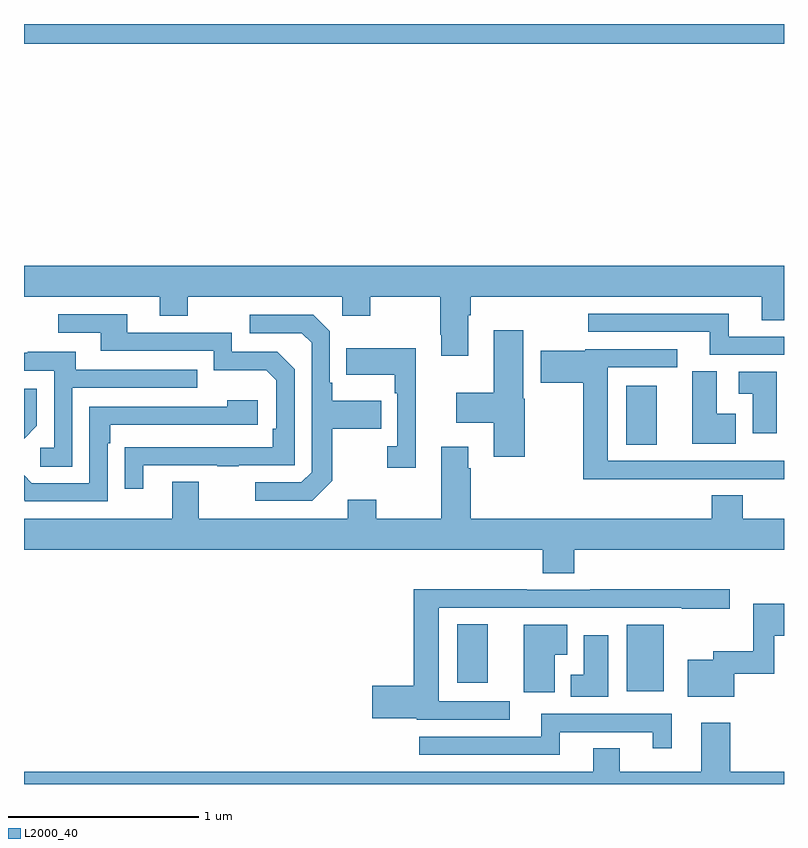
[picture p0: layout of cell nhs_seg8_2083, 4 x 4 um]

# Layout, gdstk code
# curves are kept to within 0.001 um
import gdstk
lib = gdstk.Library(unit=1e-6, precision=1e-09)
def R(c, l, rs):  # rectangles x0, y0, x1, y1
    for r in rs: c.add(gdstk.rectangle(r[:2], r[2:], *l))
def P(c, l, *ps):  # polygons
    for p in ps: c.add(gdstk.Polygon(p, *l))
L2000_40 = (2000, 40)

nhs_seg8_2083 = lib.new_cell('nhs_seg8_2083')
R(nhs_seg8_2083, L2000_40, [(244.172,1150.388,244.366,1150.738), (243.281,1150.434,243.442,1150.742), (244.169,1151.686,244.33,1151.995), (241,1153.796,245,1153.9)])
P(nhs_seg8_2083, L2000_40, [(241,1152.464),(241.715,1152.464),(241.715,1152.365),(241.863,1152.365),(241.863,1152.464),(242.676,1152.464),(242.676,1152.365),(242.823,1152.365),(242.823,1152.464),(243.19,1152.464),(243.19,1152.265),(243.197,1152.265),(243.197,1152.153),(243.337,1152.153),(243.337,1152.368),(243.35,1152.368),(243.35,1152.464),(244.883,1152.464),(244.883,1152.34),(245,1152.34),(245,1152.628),(241,1152.628)],
  [(245,1152.255),(244.708,1152.255),(244.708,1152.375),(243.969,1152.375),(243.969,1152.279),(244.61,1152.279),(244.61,1152.159),(245,1152.159)],
  [(241.627,1151.577),(242.017,1151.577),(242.017,1151.572),(242.129,1151.572),(242.129,1151.577),(242.424,1151.577),(242.424,1152.084),(242.334,1152.174),(242.094,1152.174),(242.094,1152.276),(241.543,1152.276),(241.543,1152.372),(241.179,1152.372),(241.179,1152.276),(241.403,1152.276),(241.403,1152.18),(241.998,1152.18),(241.998,1152.077),(242.275,1152.077),(242.328,1152.024),(242.328,1151.77),(242.308,1151.77),(242.308,1151.673),(241.531,1151.672),(241.531,1151.454),(241.627,1151.454)],
  [(242.623,1151.497),(242.623,1151.77),(242.879,1151.77),(242.879,1151.917),(242.623,1151.917),(242.623,1152.013),(242.61,1152.013),(242.61,1152.282),(242.523,1152.369),(242.187,1152.369),(242.187,1152.273),(242.463,1152.273),(242.514,1152.222),(242.514,1151.541),(242.46,1151.487),(242.217,1151.487),(242.217,1151.391),(242.517,1151.391)],
  [(243.636,1151.927),(243.628,1151.927),(243.628,1152.289),(243.473,1152.289),(243.473,1151.959),(243.276,1151.959),(243.276,1151.801),(243.473,1151.801),(243.473,1151.622),(243.636,1151.622)],
  [(243.062,1152.193),(242.695,1152.193),(242.695,1152.053),(242.952,1152.053),(242.952,1151.957),(242.964,1151.957),(242.964,1151.678),(242.913,1151.678),(242.913,1151.565),(243.062,1151.565)],
  [(244.535,1151.505),(244.867,1151.505),(244.867,1151.504),(245,1151.504),(245,1151.601),(244.072,1151.601),(244.072,1152.093),(244.438,1152.093),(244.438,1152.189),(243.954,1152.189),(243.954,1152.181),(243.72,1152.181),(243.72,1152.011),(243.943,1152.011),(243.943,1151.504),(244.535,1151.504)],
  [(241.254,1151.985),(241.913,1151.985),(241.913,1152.081),(241.273,1152.081),(241.273,1152.175),(241.019,1152.175),(241.019,1152.171),(241,1152.171),(241,1152.075),(241.158,1152.075),(241.158,1151.67),(241.086,1151.67),(241.086,1151.569),(241.254,1151.569)],
  [(244.747,1151.848),(244.645,1151.848),(244.645,1152.073),(244.517,1152.073),(244.517,1151.69),(244.747,1151.69)],
  [(244.963,1152.07),(244.761,1152.07),(244.761,1151.954),(244.835,1151.954),(244.835,1151.745),(244.963,1151.745)],
  [(241.068,1151.786),(241.068,1151.98),(241,1151.98),(241,1151.718)],
  [(241.44,1151.693),(241.453,1151.693),(241.453,1151.79),(242.23,1151.79),(242.23,1151.92),(242.069,1151.92),(242.069,1151.886),(241.344,1151.886),(241.344,1151.484),(241.041,1151.484),(241,1151.525),(241,1151.393),(241.005,1151.388),(241.44,1151.388)],
  [(243.35,1151.561),(243.337,1151.561),(243.337,1151.674),(243.197,1151.674),(243.197,1151.296),(242.853,1151.296),(242.853,1151.395),(242.705,1151.395),(242.705,1151.296),(241.921,1151.296),(241.921,1151.491),(241.781,1151.491),(241.781,1151.296),(241,1151.296),(241,1151.132),(243.731,1151.132),(243.731,1151.008),(243.896,1151.008),(243.896,1151.132),(245,1151.132),(245,1151.296),(244.784,1151.296),(244.784,1151.42),(244.619,1151.42),(244.619,1151.296),(243.35,1151.296)],
  [(243.556,1150.335),(243.184,1150.335),(243.184,1150.827),(244.462,1150.827),(244.462,1150.822),(244.714,1150.822),(244.714,1150.925),(243.979,1150.925),(243.979,1150.923),(243.647,1150.923),(243.647,1150.925),(243.05,1150.925),(243.05,1150.418),(242.832,1150.418),(242.832,1150.247),(243.066,1150.247),(243.066,1150.239),(243.556,1150.239)],
  [(244.738,1150.48),(244.948,1150.48),(244.948,1150.679),(245,1150.679),(245,1150.849),(244.838,1150.849),(244.838,1150.599),(244.628,1150.599),(244.628,1150.555),(244.493,1150.555),(244.493,1150.358),(244.738,1150.358)],
  [(243.793,1150.58),(243.859,1150.58),(243.859,1150.738),(243.629,1150.738),(243.629,1150.383),(243.793,1150.383)],
  [(244.075,1150.684),(243.947,1150.684),(243.947,1150.474),(243.878,1150.474),(243.878,1150.358),(244.075,1150.358)],
  [(243.82,1150.173),(244.31,1150.173),(244.31,1150.089),(244.408,1150.089),(244.408,1150.269),(243.722,1150.269),(243.722,1150.149),(243.081,1150.149),(243.081,1150.053),(243.82,1150.053)],
  [(245,1149.964),(244.718,1149.964),(244.718,1150.222),(244.565,1150.222),(244.565,1149.964),(244.135,1149.964),(244.135,1150.088),(243.995,1150.088),(243.995,1149.964),(241,1149.964),(241,1149.9),(245,1149.9)])

lib.write_gds('nhs_seg8_2083.gds')
